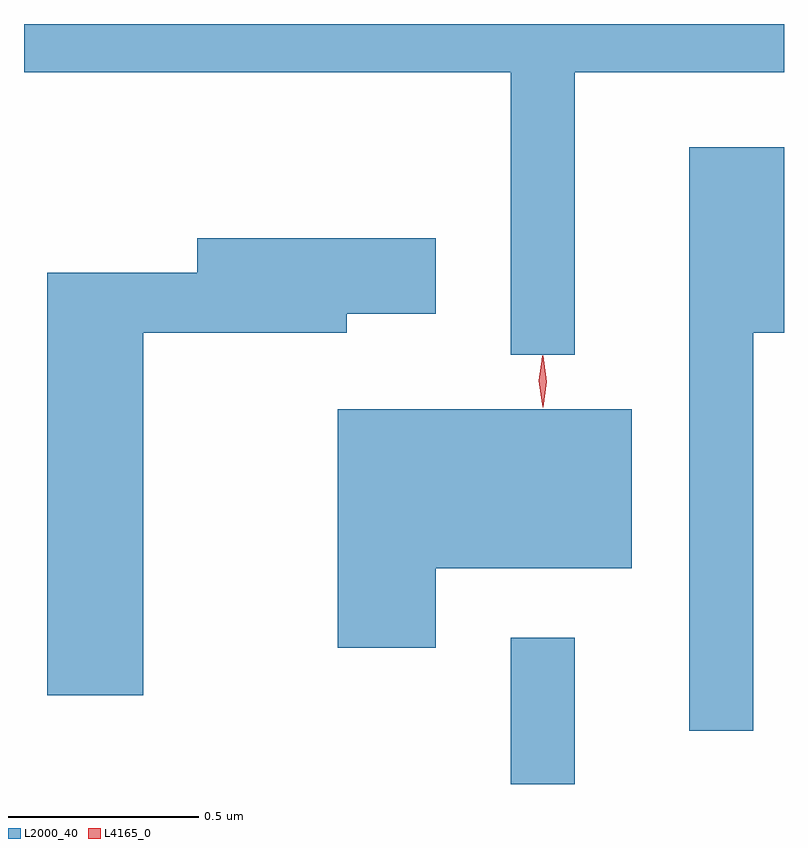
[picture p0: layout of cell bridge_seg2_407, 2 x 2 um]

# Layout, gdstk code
import gdstk
lib = gdstk.Library(unit=1e-6, precision=1e-09)
def R(c, l, rs):  # rectangles x0, y0, x1, y1
    for r in rs: c.add(gdstk.rectangle(r[:2], r[2:], *l))
def P(c, l, *ps):  # polygons
    for p in ps: c.add(gdstk.Polygon(p, *l))
L2000_40 = (2000, 40)
L4165_0 = (4165, 0)

bridge_seg2_407 = lib.new_cell('bridge_seg2_407')
R(bridge_seg2_407, L2000_40, [(639.741,997.603,639.909,997.988)])
P(bridge_seg2_407, L2000_40, [(639.909,999.476),(640.46,999.476),(640.46,999.603),(638.46,999.603),(638.46,999.476),(639.741,999.476),(639.741,998.733),(639.909,998.733)],
  [(640.379,998.791),(640.46,998.791),(640.46,999.279),(640.211,999.279),(640.211,997.743),(640.379,997.743)],
  [(638.774,998.791),(639.309,998.791),(639.309,998.841),(639.544,998.841),(639.544,999.039),(638.916,999.039),(638.916,998.949),(638.521,998.949),(638.521,997.836),(638.774,997.836)],
  [(639.544,998.171),(640.059,998.171),(640.059,998.589),(639.286,998.589),(639.286,997.961),(639.544,997.961)])
P(bridge_seg2_407, L4165_0, [(639.825,998.594),(639.816,998.662),(639.824,998.73),(639.825,998.73),(639.826,998.73),(639.835,998.662),(639.826,998.594),(639.826,998.594)],
  [(639.824,998.601),(639.824,998.602),(639.814,998.664),(639.824,998.726),(639.824,998.727),(639.825,998.726),(639.834,998.664),(639.825,998.602)])

lib.write_gds('bridge_seg2_407.gds')
